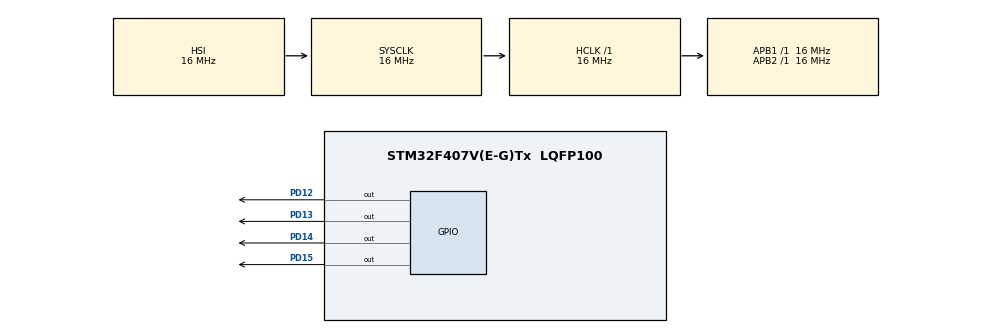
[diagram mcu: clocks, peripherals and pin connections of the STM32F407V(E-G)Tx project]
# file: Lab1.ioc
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Mcu.Family=STM32F4
Mcu.Name=STM32F407V(E-G)Tx
Mcu.Package=LQFP100
NVIC.PriorityGroup=NVIC_PRIORITYGROUP_4
PD12.Signal=GPIO_Output
PD13.Signal=GPIO_Output
PD14.Signal=GPIO_Output
PD15.Signal=GPIO_Output
ProjectManager.HeapSize=0x200
ProjectManager.StackSize=0x400
ProjectManager.TargetToolchain=STM32CubeIDE
RCC.AHBFreq_Value=16000000
RCC.APB1Freq_Value=16000000
RCC.APB2Freq_Value=16000000
RCC.CortexFreq_Value=16000000
RCC.HSE_VALUE=25000000
RCC.HSI_VALUE=16000000
RCC.LSE_VALUE=32768
RCC.SYSCLKFreq_VALUE=16000000
RCC.VCOOutputFreq_Value=192000000
board=custom

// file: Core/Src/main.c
/* USER CODE BEGIN Header */
/**
  ******************************************************************************
  * @file           : main.c
  * @brief          : Main program body
  ******************************************************************************
  * @attention
  *
  * Copyright (c) 2026 STMicroelectronics.
  * All rights reserved.
  *
  * This software is licensed under terms that can be found in the LICENSE file
  * in the root directory of this software component.
  * If no LICENSE file comes with this software, it is provided AS-IS.
  *
  ******************************************************************************
  */
/* USER CODE END Header */
#include "main.h"

void SystemClock_Config(void);
static void MX_GPIO_Init(void);

int main(void)
{

  /* MCU Configuration--------------------------------------------------------*/

  /* Reset of all peripherals, Initializes the Flash interface and the Systick. */
  HAL_Init();

  /* Configure the system clock */
  SystemClock_Config();

  /* Initialize all configured peripherals */
  MX_GPIO_Init();

  /* Infinite loop */
  /* USER CODE BEGIN WHILE */
  while (1)
  {
	  // blue 15
	  HAL_GPIO_WritePin(GPIOD, GPIO_PIN_15, GPIO_PIN_SET);
	  HAL_Delay(500);
	  HAL_GPIO_WritePin(GPIOD, GPIO_PIN_15, GPIO_PIN_RESET);
	  HAL_Delay(500);
	  // red 14
	  HAL_GPIO_WritePin(GPIOD, GPIO_PIN_14, GPIO_PIN_SET);
	  HAL_Delay(500);
	  HAL_GPIO_WritePin(GPIOD, GPIO_PIN_14, GPIO_PIN_RESET);
	  HAL_Delay(500);
	  // orange 13
	  HAL_GPIO_WritePin(GPIOD, GPIO_PIN_13, GPIO_PIN_SET);
	  HAL_Delay(500);
	  HAL_GPIO_WritePin(GPIOD, GPIO_PIN_13, GPIO_PIN_RESET);
	  HAL_Delay(500);
	  // green 12
	  HAL_GPIO_WritePin(GPIOD, GPIO_PIN_12, GPIO_PIN_SET);
	  HAL_Delay(500);
	  HAL_GPIO_WritePin(GPIOD, GPIO_PIN_12, GPIO_PIN_RESET);
	  HAL_Delay(500);
    /* USER CODE END WHILE */

  }
}

void SystemClock_Config(void)
{
  RCC_OscInitTypeDef RCC_OscInitStruct = {0};
  RCC_ClkInitTypeDef RCC_ClkInitStruct = {0};

  /** Configure the main internal regulator output voltage
  */
  __HAL_RCC_PWR_CLK_ENABLE();
  __HAL_PWR_VOLTAGESCALING_CONFIG(PWR_REGULATOR_VOLTAGE_SCALE1);

  /** Initializes the RCC Oscillators according to the specified parameters
  * in the RCC_OscInitTypeDef structure.
  */
  RCC_OscInitStruct.OscillatorType = RCC_OSCILLATORTYPE_HSI;
  RCC_OscInitStruct.HSIState = RCC_HSI_ON;
  RCC_OscInitStruct.HSICalibrationValue = RCC_HSICALIBRATION_DEFAULT;
  RCC_OscInitStruct.PLL.PLLState = RCC_PLL_NONE;
  if (HAL_RCC_OscConfig(&RCC_OscInitStruct) != HAL_OK)
  {
    Error_Handler();
  }

  /** Initializes the CPU, AHB and APB buses clocks
  */
  RCC_ClkInitStruct.ClockType = RCC_CLOCKTYPE_HCLK|RCC_CLOCKTYPE_SYSCLK
                              |RCC_CLOCKTYPE_PCLK1|RCC_CLOCKTYPE_PCLK2;
  RCC_ClkInitStruct.SYSCLKSource = RCC_SYSCLKSOURCE_HSI;
  RCC_ClkInitStruct.AHBCLKDivider = RCC_SYSCLK_DIV1;
  RCC_ClkInitStruct.APB1CLKDivider = RCC_HCLK_DIV1;
  RCC_ClkInitStruct.APB2CLKDivider = RCC_HCLK_DIV1;

  if (HAL_RCC_ClockConfig(&RCC_ClkInitStruct, FLASH_LATENCY_0) != HAL_OK)
  {
    Error_Handler();
  }
}

static void MX_GPIO_Init(void)
{
  GPIO_InitTypeDef GPIO_InitStruct = {0};

  /* GPIO Ports Clock Enable */
  __HAL_RCC_GPIOD_CLK_ENABLE();

  /*Configure GPIO pin Output Level */
  HAL_GPIO_WritePin(GPIOD, GPIO_PIN_12|GPIO_PIN_13|GPIO_PIN_14|GPIO_PIN_15, GPIO_PIN_RESET);

  /*Configure GPIO pins : PD12 PD13 PD14 PD15 */
  GPIO_InitStruct.Pin = GPIO_PIN_12|GPIO_PIN_13|GPIO_PIN_14|GPIO_PIN_15;
  GPIO_InitStruct.Mode = GPIO_MODE_OUTPUT_PP;
  GPIO_InitStruct.Pull = GPIO_NOPULL;
  GPIO_InitStruct.Speed = GPIO_SPEED_FREQ_LOW;
  HAL_GPIO_Init(GPIOD, &GPIO_InitStruct);

}

void Error_Handler(void)
{
  __disable_irq();
  while (1)
  {
  }
}
